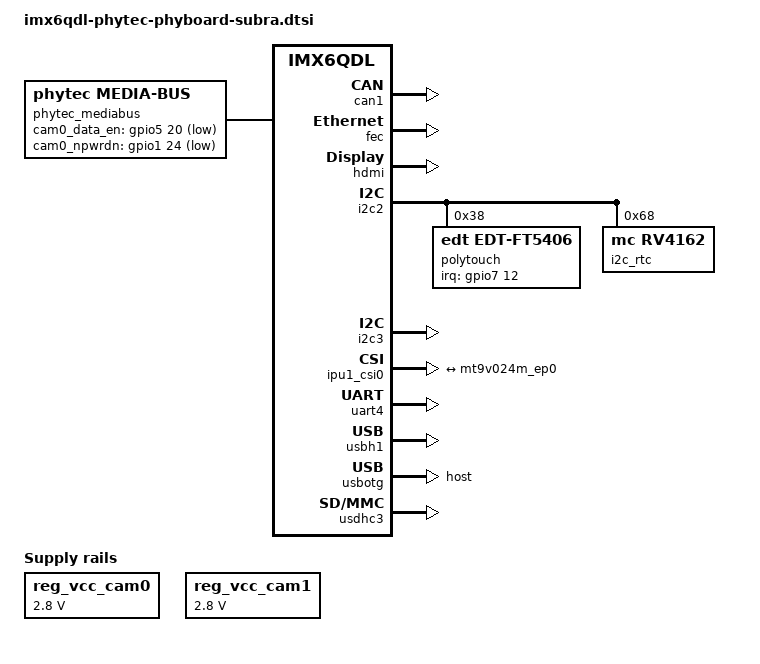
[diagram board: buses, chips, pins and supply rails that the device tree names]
/*
 * Copyright (C) 2015 PHYTEC Messtechnik GmbH,
 * Author: Stefan Christ <s.christ@phytec.de>
 *
 * The code contained herein is licensed under the GNU General Public
 * License. You may obtain a copy of the GNU General Public License
 * Version 2 or later at the following locations:
 *
 * http://www.opensource.org/licenses/gpl-license.html
 * http://www.gnu.org/copyleft/gpl.html
 */

#include "imx6qdl-phytec-lcd.dtsi"
#include <dt-bindings/pwm/pwm.h>

/ {
	aliases {
		rtc0 = &i2c_rtc;
	};

	chosen {
		stdout-path = &uart4;
	};

	backlight {
		pwms = <&pwm1 0 5000000 PWM_POLARITY_INVERTED>;
		brightness-levels = <255 128 64 32 16 8 4 0>;
		enable-gpios = <&gpio1 8 GPIO_ACTIVE_LOW>;
	};

	regulators {
		reg_vcc_cam0: regulator@5 {
			compatible = "regulator-fixed";
			regulator-name = "VCC_CAM0";
			regulator-min-microvolt = <2800000>;
			regulator-max-microvolt = <2800000>;
		};

		reg_vcc_cam1: regulator@5 {
			compatible = "regulator-fixed";
			regulator-name = "VCC_CAM1";
			regulator-min-microvolt = <2800000>;
			regulator-max-microvolt = <2800000>;
		};
	};

	phytec_mediabus: phytec_mediabus {
		compatible = "phytec,media-bus";
		pinctrl-names = "default";
		pinctrl-0 = <&pinctrl_cam0data
				&pinctrl_cam0clk
				&pinctrl_cam0switch>;

		#gpio-cells = <3>;
		#clock-cells = <1>;
		status = "okay";
		phytec,cam0_data_en-gpio = <&gpio5 20 GPIO_ACTIVE_LOW>;
		phytec,cam0_npwrdn-gpio  = <&gpio1 24 GPIO_ACTIVE_LOW>;

		/* clock setup part #1: setup clock parents */
		assigned-clocks =
		<&clks IMX6QDL_CLK_CKO1_SEL>,           /* camera0-clk-sel */
		<&clks IMX6QDL_CLK_CKO2_SEL>,           /* camera1-clk-sel */
		<&clks IMX6QDL_CLK_ESAI_SEL>,           /* esai-sel */
		<&clks IMX6QDL_CLK_CKO>,                /* ck01 */
		<&clks IMX6QDL_CLK_PLL4_AUDIO_DIV>,
		<&clks IMX6QDL_CLK_ESAI_EXTAL>;

		assigned-clock-parents =
		<&clks IMX6QDL_CLK_PLL4_AUDIO_DIV>,         /* camera0-clk-parent */
		<&clks IMX6QDL_CLK_ESAI_EXTAL>,         /* camera1-clk-parent */
		<&clks IMX6QDL_CLK_PLL4_AUDIO_DIV>,     /* esai-sel */
		<&clks IMX6QDL_CLK_CKO1>;

		assigned-clock-rates = <0>, <0>, <0>, <0>, <216000000>, <216000000>;
		/* clock setup part #2: select the clocks */
		clocks = <
			&clks IMX6QDL_CLK_CKO1  /* camera0-clk (cko) */
			&clks IMX6QDL_CLK_CKO2  /* camera1-clk (cko2) */
		>;
		clock-names = "camera0-clk", "camera1-clk";

		/* clock setup part #3: define output clocks */
		clock-output-names = "camera0-clk", "camera1-clk";


		camera0@0 {

		};

	};
};

&can1 {
/*	gpio = <&gpio4 5 0>; CAN enable GPIO must fix */
	status = "okay";
};

&fec {
	status = "okay";
};

&hdmi {
	status = "okay";
};

&i2c2 {
	status = "okay";

	polytouch: edt-ft5x06@38 {
		compatible = "edt,edt-ft5406", "edt,edt-ft5x06";
		reg = <0x38>;
		pinctrl-names = "default";
		pinctrl-0 = <&pinctrl_edt_ft5x06>;
		interrupt-parent = <&gpio7>;
		interrupts = <12 0>;
		touchscreen-inverted-x;
		touchscreen-inverted-y;
	};

	i2c_rtc: rtc@68 {
		compatible = "mc,rv4162";
		reg = <0x68>;
	};
};

&i2c3 {
	status = "okay";

	mt9p031_0: mt9p031@48 {
		compatible = "aptina,mt9p031";
		reg = <0x48>;
		status = "disabled";
		vdd-supply = <&reg_vcc_cam0>;
		vdd_io-supply = <&reg_vcc_cam0>;
		vaa-supply = <&reg_vcc_cam0>;

		clocks = <&phytec_mediabus 0>;

		port {
			mt9p031_ep0: endpoint {
				input-clock-frequency = <54000000>;
				pixel-clock-frequency = <54000000>;
				pclk-sample = <1>;
			};
		};
	};

	mt9v024m_0: mt9v024m@48 {
		compatible = "aptina,mt9v024m";
		reg = <0x48>;
		status = "disabled";

		clocks = <&phytec_mediabus 0>;

		port {
			mt9v024m_ep0: endpoint {
				link-frequencies = /bits/ 64
					<27000000>;
				pclk-sample = <0>;
				remote-endpoint = <&csi0_ep>;
			};
		};
        };

	mt9m111_0: mt9m111@48 {
		compatible = "micron,mt9m111";
		status = "disabled";
		reg = <0x48>;

		clocks = <&phytec_mediabus 0>;
		clock-names = "mclk";
		port {
			mt9m111_ep0: endpoint {
				bus-width = <8>;
				remote-endpoint = <&csi0_ep>;
			};
		};
	};

	mt9m001_0: mt9m001@5d {
		compatible = "aptina,mt9m001";
		status = "disabled";
		reg = <0x5d>;

		clocks = <&phytec_mediabus 0>;

		port {
			mt9m001_ep0: endpoint {
				bus-width = <8>;
				link-frequencies = /bits/ 64
					<36000000 43200000>;
				remote-endpoint = <&csi0_ep>;
			};
		};
	};

	tw9910_0: tw9910@45 {
		compatible = "techwell,tw9910";
		status = "disabled";
		reg = <0x45>;

		clocks = <&phytec_mediabus 0>;

		port {
			tw9910_ep0: endpoint {
				bus-width = <8>;
				mpout = <7>;
				link-frequencies = /bits/ 64 <27000000>;
				remote-endpoint = <&csi0_ep>;
			};
		};
	};
};

&ipu1_csi0 {
	#address-cells = <1>;
	#size-cells = <0>;

	/* Parallel bus */
	csi0_ep: endpoint {
		bus-width = <8>;
		remote-endpoint = <&mt9v024m_ep0>;
	};
};

&uart4 {
	status = "okay";
};

&usbh1 {
	status = "okay";
};

&usbotg {
	status = "okay";
	dr_mode = "host";
};

&usdhc3 {
	status = "okay";
	max-frequency = <25000000>; /* 25 Mhz */
};
